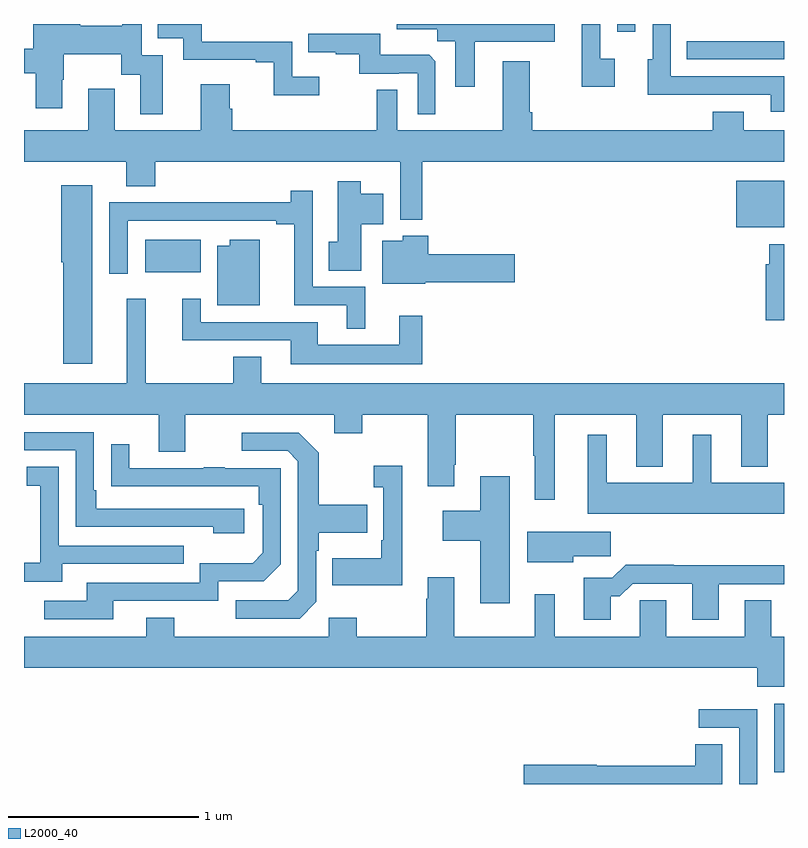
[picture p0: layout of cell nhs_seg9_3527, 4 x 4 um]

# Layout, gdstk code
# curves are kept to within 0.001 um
import gdstk
lib = gdstk.Library(unit=1e-6, precision=1e-09)
def R(c, l, rs):  # rectangles x0, y0, x1, y1
    for r in rs: c.add(gdstk.rectangle(r[:2], r[2:], *l))
def P(c, l, *ps):  # polygons
    for p in ps: c.add(gdstk.Polygon(p, *l))
L2000_40 = (2000, 40)

nhs_seg9_3527 = lib.new_cell('nhs_seg9_3527')
R(nhs_seg9_3527, L2000_40, [(316.949,1170.561,317,1170.922), (313.637,1173.194,313.93,1173.364), (316.748,1173.431,317,1173.676), (316.489,1174.314,317,1174.41), (316.122,1174.458,316.218,1174.5), (316.766,1174.499,317,1174.5)])
P(nhs_seg9_3527, L2000_40, [(315.373,1174.406),(315.793,1174.406),(315.793,1174.5),(314.963,1174.5),(314.963,1174.472),(315.174,1174.472),(315.174,1174.408),(315.269,1174.408),(315.269,1174.17),(315.373,1174.17)],
  [(317,1174.224),(316.404,1174.224),(316.404,1174.5),(316.308,1174.5),(316.308,1174.314),(316.283,1174.314),(316.283,1174.127),(316.501,1174.127),(316.501,1174.128),(316.931,1174.128),(316.931,1174.038),(317,1174.038)],
  [(314.554,1174.222),(314.412,1174.222),(314.412,1174.407),(313.935,1174.407),(313.935,1174.5),(313.705,1174.5),(313.705,1174.425),(313.839,1174.425),(313.839,1174.311),(314.219,1174.311),(314.219,1174.299),(314.314,1174.299),(314.314,1174.124),(314.554,1174.124)],
  [(313.729,1174.335),(313.62,1174.335),(313.62,1174.5),(313.517,1174.5),(313.517,1174.492),(313.297,1174.492),(313.297,1174.5),(313.049,1174.5),(313.049,1174.371),(313,1174.371),(313,1174.241),(313.061,1174.241),(313.061,1174.056),(313.201,1174.056),(313.201,1174.206),(313.209,1174.206),(313.209,1174.34),(313.512,1174.34),(313.512,1174.234),(313.613,1174.234),(313.613,1174.026),(313.729,1174.026)],
  [(316.108,1174.318),(316.032,1174.318),(316.032,1174.5),(315.935,1174.5),(315.935,1174.17),(316.108,1174.17)],
  [(315.165,1174.305),(315.133,1174.337),(314.875,1174.337),(314.875,1174.449),(314.497,1174.449),(314.497,1174.352),(314.641,1174.352),(314.641,1174.341),(314.765,1174.341),(314.765,1174.239),(314.972,1174.239),(314.972,1174.242),(315.072,1174.242),(315.072,1174.025),(315.165,1174.025)],
  [(315.095,1173.776),(317,1173.776),(317,1173.94),(316.789,1173.94),(316.789,1174.039),(316.625,1174.039),(316.625,1173.94),(315.674,1173.94),(315.674,1174.036),(315.661,1174.036),(315.661,1174.303),(315.521,1174.303),(315.521,1173.94),(314.964,1173.94),(314.964,1174.154),(314.856,1174.154),(314.856,1173.94),(314.096,1173.94),(314.096,1174.053),(314.083,1174.053),(314.083,1174.183),(313.931,1174.183),(313.931,1173.94),(313.477,1173.94),(313.477,1174.159),(313.337,1174.159),(313.337,1173.94),(313,1173.94),(313,1173.776),(313.538,1173.776),(313.538,1173.646),(313.691,1173.646),(313.691,1173.776),(314.979,1173.776),(314.979,1173.47),(315.095,1173.47)],
  [(314.776,1173.446),(314.89,1173.446),(314.89,1173.607),(314.773,1173.607),(314.773,1173.673),(314.651,1173.673),(314.651,1173.354),(314.605,1173.354),(314.605,1173.202),(314.776,1173.202)],
  [(313.36,1173.652),(313.196,1173.652),(313.196,1173.246),(313.207,1173.246),(313.207,1172.712),(313.36,1172.712)],
  [(314.797,1173.117),(314.52,1173.117),(314.52,1173.622),(314.404,1173.622),(314.404,1173.563),(313.774,1173.563),(313.774,1173.561),(313.449,1173.561),(313.449,1173.186),(313.545,1173.186),(313.545,1173.465),(314.327,1173.465),(314.327,1173.445),(314.423,1173.445),(314.423,1173.021),(314.699,1173.021),(314.699,1172.897),(314.797,1172.897)],
  [(315.111,1173.14),(315.583,1173.14),(315.583,1173.287),(315.128,1173.287),(315.128,1173.385),(314.994,1173.385),(314.994,1173.358),(314.885,1173.358),(314.885,1173.134),(315.111,1173.134)],
  [(314.242,1173.364),(314.084,1173.364),(314.084,1173.334),(314.018,1173.334),(314.018,1173.02),(314.242,1173.02)],
  [(317,1173.34),(316.923,1173.34),(316.923,1173.236),(316.903,1173.236),(316.903,1172.94),(317,1172.94)],
  [(315.793,1172.444),(316.223,1172.444),(316.223,1172.171),(316.363,1172.171),(316.363,1172.444),(316.775,1172.444),(316.775,1172.171),(316.915,1172.171),(316.915,1172.444),(317,1172.444),(317,1172.608),(314.248,1172.608),(314.248,1172.75),(314.101,1172.75),(314.101,1172.608),(313.64,1172.608),(313.64,1173.055),(313.541,1173.055),(313.541,1172.608),(313,1172.608),(313,1172.444),(313.709,1172.444),(313.709,1172.25),(313.849,1172.25),(313.849,1172.444),(314.633,1172.444),(314.633,1172.345),(314.781,1172.345),(314.781,1172.444),(315.125,1172.444),(315.125,1172.067),(315.265,1172.067),(315.265,1172.179),(315.273,1172.179),(315.273,1172.444),(315.679,1172.444),(315.679,1172.228),(315.689,1172.228),(315.689,1171.995),(315.793,1171.995)],
  [(315.097,1172.965),(314.975,1172.965),(314.975,1172.812),(314.545,1172.812),(314.545,1172.931),(313.929,1172.931),(313.929,1173.055),(313.832,1173.055),(313.832,1172.835),(314.405,1172.835),(314.405,1172.708),(315.097,1172.708)],
  [(314.158,1171.95),(313.381,1171.95),(313.381,1172.047),(313.368,1172.047),(313.368,1172.352),(313,1172.352),(313,1172.256),(313.272,1172.256),(313.272,1171.854),(313.997,1171.854),(313.997,1171.82),(314.158,1171.82)],
  [(314.538,1171.458),(314.538,1171.727),(314.551,1171.727),(314.551,1171.823),(314.807,1171.823),(314.807,1171.971),(314.551,1171.971),(314.551,1172.243),(314.445,1172.349),(314.145,1172.349),(314.145,1172.253),(314.388,1172.253),(314.442,1172.199),(314.442,1171.518),(314.391,1171.467),(314.115,1171.467),(314.115,1171.371),(314.451,1171.371)],
  [(317,1172.086),(316.618,1172.086),(316.618,1172.338),(316.52,1172.338),(316.52,1172.086),(316.066,1172.086),(316.066,1172.338),(315.968,1172.338),(315.968,1171.922),(317,1171.922)],
  [(313.471,1171.464),(314.022,1171.464),(314.022,1171.566),(314.262,1171.566),(314.352,1171.656),(314.352,1172.163),(314.057,1172.163),(314.057,1172.168),(313.945,1172.168),(313.945,1172.163),(313.555,1172.163),(313.555,1172.287),(313.459,1172.287),(313.459,1172.068),(314.236,1172.067),(314.236,1171.97),(314.256,1171.97),(314.256,1171.716),(314.203,1171.663),(313.926,1171.663),(313.926,1171.56),(313.331,1171.56),(313.331,1171.464),(313.107,1171.464),(313.107,1171.368),(313.471,1171.368)],
  [(314.99,1172.176),(314.841,1172.176),(314.841,1172.063),(314.892,1172.063),(314.892,1171.783),(314.88,1171.783),(314.88,1171.687),(314.623,1171.687),(314.623,1171.547),(314.99,1171.547)],
  [(313.201,1171.659),(313.841,1171.659),(313.841,1171.755),(313.182,1171.755),(313.182,1172.171),(313.014,1172.171),(313.014,1172.07),(313.086,1172.07),(313.086,1171.665),(313,1171.665),(313,1171.565),(313.201,1171.565)],
  [(315.556,1172.119),(315.401,1172.119),(315.401,1171.939),(315.204,1171.939),(315.204,1171.781),(315.401,1171.781),(315.401,1171.452),(315.556,1171.452)],
  [(315.892,1171.699),(316.087,1171.699),(316.087,1171.828),(315.648,1171.828),(315.648,1171.667),(315.892,1171.667)],
  [(316.087,1171.487),(316.136,1171.487),(316.203,1171.554),(316.517,1171.554),(316.517,1171.365),(316.657,1171.365),(316.657,1171.551),(317,1171.551),(317,1171.652),(316.421,1171.652),(316.421,1171.655),(316.166,1171.655),(316.096,1171.585),(315.947,1171.585),(315.947,1171.365),(316.087,1171.365)],
  [(317,1171.276),(316.933,1171.276),(316.933,1171.466),(316.793,1171.466),(316.793,1171.276),(316.381,1171.276),(316.381,1171.466),(316.242,1171.466),(316.242,1171.276),(315.793,1171.276),(315.793,1171.498),(315.689,1171.498),(315.689,1171.276),(315.265,1171.276),(315.265,1171.588),(315.125,1171.588),(315.125,1171.475),(315.118,1171.475),(315.118,1171.276),(314.751,1171.276),(314.751,1171.375),(314.604,1171.375),(314.604,1171.276),(313.791,1171.276),(313.791,1171.375),(313.643,1171.375),(313.643,1171.276),(313,1171.276),(313,1171.112),(316.859,1171.112),(316.859,1171.013),(317,1171.013)],
  [(316.86,1170.894),(316.551,1170.894),(316.551,1170.795),(316.764,1170.795),(316.764,1170.5),(316.86,1170.5)],
  [(316.675,1170.71),(316.532,1170.71),(316.532,1170.596),(316.014,1170.596),(316.014,1170.602),(315.63,1170.602),(315.63,1170.5),(316.675,1170.5)])

lib.write_gds('nhs_seg9_3527.gds')
